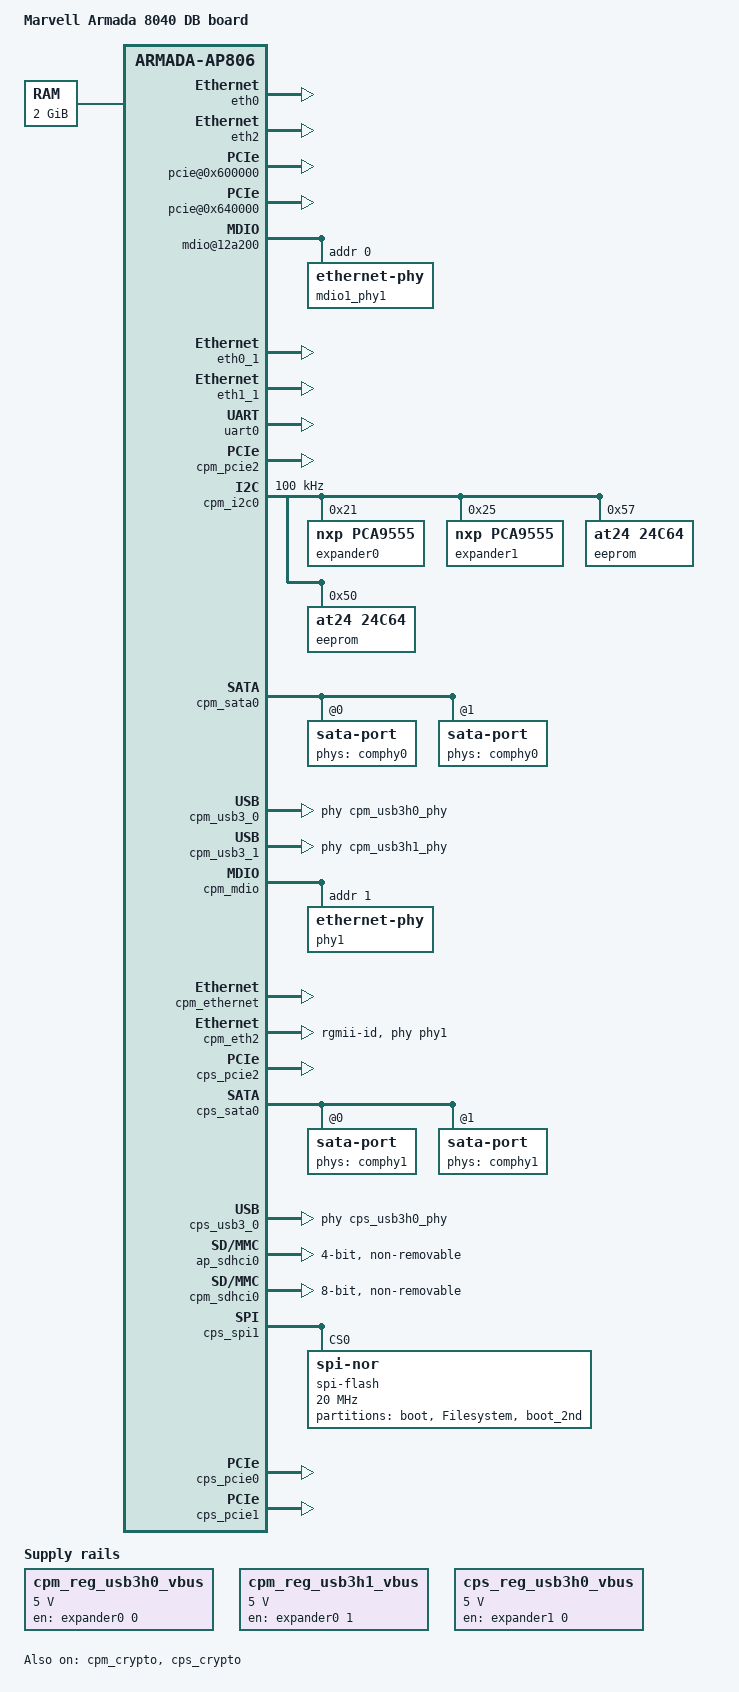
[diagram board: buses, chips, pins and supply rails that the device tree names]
/*
 * Copyright (C) 2016 Marvell Technology Group Ltd.
 *
 * This file is dual-licensed: you can use it either under the terms
 * of the GPLv2 or the X11 license, at your option. Note that this dual
 * licensing only applies to this file, and not this project as a
 * whole.
 *
 *  a) This library is free software; you can redistribute it and/or
 *     modify it under the terms of the GNU General Public License as
 *     published by the Free Software Foundation; either version 2 of the
 *     License, or (at your option) any later version.
 *
 *     This library is distributed in the hope that it will be useful,
 *     but WITHOUT ANY WARRANTY; without even the implied warranty of
 *     MERCHANTABILITY or FITNESS FOR A PARTICULAR PURPOSE.  See the
 *     GNU General Public License for more details.
 *
 * Or, alternatively,
 *
 *  b) Permission is hereby granted, free of charge, to any person
 *     obtaining a copy of this software and associated documentation
 *     files (the "Software"), to deal in the Software without
 *     restriction, including without limitation the rights to use,
 *     copy, modify, merge, publish, distribute, sublicense, and/or
 *     sell copies of the Software, and to permit persons to whom the
 *     Software is furnished to do so, subject to the following
 *     conditions:
 *
 *     The above copyright notice and this permission notice shall be
 *     included in all copies or substantial portions of the Software.
 *
 *     THE SOFTWARE IS PROVIDED "AS IS", WITHOUT WARRANTY OF ANY KIND,
 *     EXPRESS OR IMPLIED, INCLUDING BUT NOT LIMITED TO THE WARRANTIES
 *     OF MERCHANTABILITY, FITNESS FOR A PARTICULAR PURPOSE AND
 *     NONINFRINGEMENT. IN NO EVENT SHALL THE AUTHORS OR COPYRIGHT
 *     HOLDERS BE LIABLE FOR ANY CLAIM, DAMAGES OR OTHER LIABILITY,
 *     WHETHER IN AN ACTION OF CONTRACT, TORT OR OTHERWISE, ARISING
 *     FROM, OUT OF OR IN CONNECTION WITH THE SOFTWARE OR THE USE OR
 *     OTHER DEALINGS IN THE SOFTWARE.
 */

/*
 * Device Tree file for Marvell Armada 8040 Development board platform
 */

#include "armada-8040.dtsi"

/ {
	model = "Marvell Armada 8040 DB board";
	compatible = "marvell,armada8040-db", "marvell,armada8040",
		     "marvell,armada-ap806-quad", "marvell,armada-ap806";

	chosen {
		stdout-path = "serial0:115200n8";
	};

	memory@00000000 {
		device_type = "memory";
		reg = <0x0 0x0 0x0 0x80000000>;
	};

	cp110-master {
		config-space@f2000000 {
			gop {
				emac0: mac0 {
					phy-mode = "sfi"; /* lane-2 */
					phys = <&comphy0 2 COMPHY_SFI>;
					phy-names = "comphy";
				};
				emac2: mac2 {
					phy-mode = "none"; /* disabled */
				};
				emac3: mac3 {
					phy-mode = "rgmii"; /* rgmii-1 */
					phy = <&mdio0_phy1>;
				};
			};
			ppv22@000000 {
				l4_chksum_jumbo_port = <0>;
				pinctrl-names = "default";
				pinctrl-0 = <&cpm_ge2_rgmii_pins>;

				eth0: eth0@010000 {
					status = "okay";
				};
				eth1: eth1@020000 {
					status = "disabled";
				};
				eth2: eth2@030000 {
					status = "okay";
				};
			};

			comphy {
				status = "okay";
			};

			u3d@520000 {
				/* There is no need to set pinctlr, since the
				 * gpio is from io-expander
				 */

				/* To enable IO expander interrupts, SD/MMC on CP
				 * Must be disabled in U-Boot & Linux
				 * vbus-gpio = <&expander0 3 GPIO_ACTIVE_HIGH>;
				 */
			};
		};
		pcie@0x600000 {
			status = "okay";
		};
		pcie@0x640000 {
			status = "okay";
		};

		cpm_usb3h0_phy: cpm_usb3_phy0 {
			compatible = "usb-nop-xceiv";
			vcc-supply = <&cpm_reg_usb3h0_vbus>;
		};

		cpm_reg_usb3h0_vbus: cpm_usb3-vbus0 {
			compatible = "regulator-fixed";
			regulator-name = "cpm-usb3-vbus-h0";
			regulator-min-microvolt = <5000000>;
			regulator-max-microvolt = <5000000>;
			enable-active-high;
			gpio = <&expander0 0 GPIO_ACTIVE_HIGH>;
		};

		cpm_usb3h1_phy: cpm_usb3_phy1 {
			compatible = "usb-nop-xceiv";
			vcc-supply = <&cpm_reg_usb3h1_vbus>;
		};

		cpm_reg_usb3h1_vbus: cpm_usb3-vbus1 {
			compatible = "regulator-fixed";
			regulator-name = "cpm-usb3-vbus-h1";
			regulator-min-microvolt = <5000000>;
			regulator-max-microvolt = <5000000>;
			enable-active-high;
			gpio = <&expander0 1 GPIO_ACTIVE_HIGH>;
		};
	};

	cp110-slave {
		config-space@f4000000 {
			mdio@12a200 {
				#address-cells = <1>;
				#size-cells = <0>;
				mdio1_phy1: ethernet-phy@1 {
					reg = <0>;
				};
			};
			gop {
				emac0_1: mac0 {
					phy-mode = "sfi"; /* lane-2 */
					phys = <&comphy1 2 COMPHY_SFI>;
					phy-names = "comphy";
				};
				emac2_1: mac2 {
					phy-mode = "rgmii"; /* rgmii-0 */
					phy = <&mdio1_phy1>;
				};
				emac3_1: mac3 {
					phy-mode = "none"; /* disabled */
				};
			};
			ppv22@000000 {
				l4_chksum_jumbo_port = <0>;
				pinctrl-names = "default";
				pinctrl-0 = <&cps_ge1_rgmii_pins>;

				eth0_1: eth0@010000 {
					status = "okay";
				};
				eth1_1: eth1@020000 {
					status = "okay";
				};
				eth2_1: eth2@030000 {
					status = "disabled";
				};
			};

			comphy {
				status = "okay";
			};

			nand@720000 {
				nand-ecc-strength = <4>;
				nand-ecc-step-size = <512>;
				status = "disabled";
				partition@0 {
					label = "U-Boot";
					reg = <0 0x200000>;
				};
				partition@200000 {
					label = "Linux";
					reg = <0x200000 0xd00000>;
				};
				partition@1000000 {
					label = "Filesystem";
					reg = <0x1000000 0x3f000000>;
				};
			};
		};

		cps_usb3h0_phy: cps_usb3_phy0 {
			compatible = "usb-nop-xceiv";
			vcc-supply = <&cps_reg_usb3h0_vbus>;
		};

		cps_reg_usb3h0_vbus: cps_usb3-vbus0 {
			compatible = "regulator-fixed";
			regulator-name = "cps-usb3-vbus-h0";
			regulator-min-microvolt = <5000000>;
			regulator-max-microvolt = <5000000>;
			enable-active-high;
			gpio = <&expander1 0 GPIO_ACTIVE_HIGH>;
		};
	};
};

&i2c0 {
	status = "disabled";
	clock-frequency = <100000>;
};

&spi0 {
	status = "disabled";

	spi-flash@0 {
		#address-cells = <1>;
		#size-cells = <1>;
		compatible = "jedec,spi-nor";
		reg = <0>;
		spi-max-frequency = <10000000>;

		partitions {
			compatible = "fixed-partitions";
			#address-cells = <1>;
			#size-cells = <1>;

			partition@0 {
				label = "U-Boot";
				reg = <0 0x200000>;
			};
			partition@400000 {
				label = "Filesystem";
				reg = <0x200000 0xce0000>;
			};
		};
	};
};

/* Accessible over the mini-USB CON9 connector on the main board */
&uart0 {
	status = "okay";
};

/* CON5 on CP0 expansion */
&cpm_pcie2 {
	status = "okay";
};

&cpm_i2c0 {
	status = "okay";
	clock-frequency = <100000>;
	pinctrl-names = "default";
	pinctrl-0 = <&cpm_i2c0_pins>;

	/* U31 */
	expander0: pca9555@21 {
		compatible = "nxp,pca9555";
		pinctrl-names = "default";
		pinctrl-0 = <&pca0_pins>;
		gpio-controller;
		#gpio-cells = <2>;
		reg = <0x21>;
		/*
		 * Support USB-DEVICE with SD in 8040
		 * To enable IO expander interrupts, SD/MMC on CP
		 * Must be disabled in U-Boot & Linux
		 * interrupt-parent = <&cpm_gpio1>;
		 * interrupts = <7 IRQ_TYPE_EDGE_FALLING>;
		 * interrupt-controller;
		 * #interrupt-cells = <2>;
		 */
	};

	/* U25 */
	expander1: pca9555@25 {
		compatible = "nxp,pca9555";
		pinctrl-names = "default";
		gpio-controller;
		#gpio-cells = <2>;
		reg = <0x25>;
		/*
		 * Support USB-DEVICE with SD in 8040
		 * To enable IO expander interrupts, SD/MMC on CP
		 * Must be disabled in U-Boot & Linux
		 * interrupt-parent = <&cpm_gpio1>;
		 * interrupts = <7 IRQ_TYPE_EDGE_FALLING>;
		 * gpio-controller;
		 * #gpio-cells = <2>;
		 * interrupt-controller;
		 * #interrupt-cells = <2>;
		 * reg = <0x25>;
		 */
	};

	eeprom@57 {
		compatible = "at24,24c64";
		reg = <0x57>;
		pagesize = <32>;
	};
	eeprom@50 {
		compatible = "at24,24c64";
		reg = <0x50>;
		pagesize = <32>;
	};
};

/* CON4 on CP0 expansion */
&cpm_sata0 {
	status = "okay";
	sata-port@0 {
		phys = <&comphy0 1 COMPHY_SATA0>;
		phy-names = "comphy";
		status = "okay";
	};
	sata-port@1 {
		phys = <&comphy0 3 COMPHY_SATA1>;
		phy-names = "comphy";
		status = "okay";
	};
};

/* CON9 on CP0 expansion */
&cpm_usb3_0 {
	status = "okay";
	usb-phy = <&cpm_usb3h0_phy>;
};

/* CON10 on CP0 expansion */
&cpm_usb3_1 {
	status = "okay";
	usb-phy = <&cpm_usb3h1_phy>;
};

&cpm_mdio {
	phy1: ethernet-phy@1 {
		reg = <1>;
	};
};

&cpm_ethernet {
	status = "okay";
};

&cpm_eth2 {
	status = "okay";
	phy = <&phy1>;
	phy-mode = "rgmii-id";
};

&cpm_crypto {
	status = "okay";
};

/* CON5 on CP1 expansion */
&cps_pcie2 {
	status = "okay";
};

&cps_i2c0 {
	status = "disabled";
	clock-frequency = <100000>;

	eeprom@57 {
		compatible = "at24,24c64";
		reg = <0x57>;
		pagesize = <32>;
	};
	eeprom@50 {
		compatible = "at24,24c64";
		reg = <0x50>;
		pagesize = <32>;
	};
};

/* CON4 on CP1 expansion */
&cps_sata0 {
	status = "okay";
	sata-port@0 {
		phys = <&comphy1 1 COMPHY_SATA0>;
		phy-names = "comphy";
		status = "okay";
	};
	sata-port@1 {
		phys = <&comphy1 3 COMPHY_SATA1>;
		phy-names = "comphy";
		status = "okay";
	};
};

/* CON9 on CP1 expansion */
&cps_usb3_0 {
	status = "okay";
	usb-phy = <&cps_usb3h0_phy>;
};

/* CON10 on CP1 expansion */
&cps_usb3_1 {
	status = "disabled";
};

&ap_sdhci0 {
	status = "okay";
	bus-width = <4>;	/*SDK is <8>*/
	non-removable;
	marvell,xenon-emmc;
};

&cpm_sdhci0 {
	status = "okay";
	bus-width = <8>;	/*SDK is <4>*/
	non-removable;
};

&cps_crypto {
	status = "okay";
};

&cps_spi1 {
	status = "okay";
	pinctrl-names = "default";
	pinctrl-0 = <&cps_spi1_pins>;

	spi-flash@0 {
		#address-cells = <0x1>;
		#size-cells = <0x1>;
		compatible = "jedec,spi-nor";
		reg = <0x0>;
		spi-max-frequency = <20000000>;
		partition@0 {
			label = "boot";
			reg = <0x0 0x200000>;
		};
		partition@200000 {
			label = "Filesystem";
			reg = <0x200000 0xd00000>;
		};
		partition@d00000 {
			label = "boot_2nd";
			reg = <0xf00000 0x100000>;
		};
	};
};

&cps_pcie0 {
	status = "okay";
}
&cps_pcie1 {
	status = "okay";
}
&cps_pcie2 {
	status = "okay";
}
